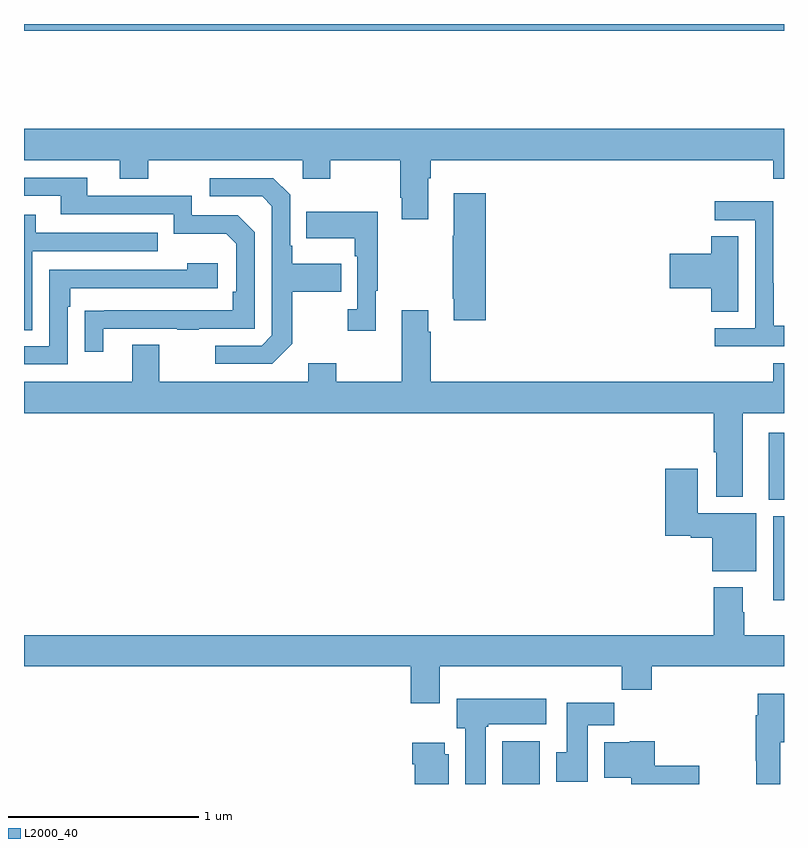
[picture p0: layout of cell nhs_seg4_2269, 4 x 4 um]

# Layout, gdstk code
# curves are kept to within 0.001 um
import gdstk
lib = gdstk.Library(unit=1e-6, precision=1e-09)
def R(c, l, rs):  # rectangles x0, y0, x1, y1
    for r in rs: c.add(gdstk.rectangle(r[:2], r[2:], *l))
def P(c, l, *ps):  # polygons
    for p in ps: c.add(gdstk.Polygon(p, *l))
L2000_40 = (2000, 40)

nhs_seg4_2269 = lib.new_cell('nhs_seg4_2269')
R(nhs_seg4_2269, L2000_40, [(231.518,762.9,231.715,763.126), (232.943,763.866,233,764.308), (232.919,764.396,233,764.749), (229,766.864,233,766.9)])
P(nhs_seg4_2269, L2000_40, [(229,766.184),(229.505,766.184),(229.505,766.085),(229.653,766.085),(229.653,766.184),(230.466,766.184),(230.466,766.085),(230.613,766.085),(230.613,766.184),(230.98,766.184),(230.98,765.985),(230.987,765.985),(230.987,765.873),(231.127,765.873),(231.127,766.088),(231.14,766.088),(231.14,766.184),(232.943,766.184),(232.943,766.085),(233,766.085),(233,766.348),(229,766.348)],
  [(229.417,765.297),(229.807,765.297),(229.807,765.292),(229.919,765.292),(229.919,765.297),(230.214,765.297),(230.214,765.804),(230.124,765.894),(229.884,765.894),(229.884,765.996),(229.333,765.996),(229.333,766.092),(229,766.092),(229,765.996),(229.193,765.996),(229.193,765.9),(229.788,765.9),(229.788,765.797),(230.065,765.797),(230.118,765.744),(230.118,765.49),(230.098,765.49),(230.098,765.393),(229.321,765.392),(229.321,765.174),(229.417,765.174)],
  [(230.413,765.217),(230.413,765.49),(230.669,765.49),(230.669,765.637),(230.413,765.637),(230.413,765.733),(230.4,765.733),(230.4,766.002),(230.313,766.089),(229.977,766.089),(229.977,765.993),(230.253,765.993),(230.304,765.942),(230.304,765.261),(230.25,765.207),(230.007,765.207),(230.007,765.111),(230.307,765.111)],
  [(231.431,766.009),(231.263,766.009),(231.263,765.785),(231.256,765.785),(231.256,765.454),(231.263,765.454),(231.263,765.342),(231.431,765.342)],
  [(233,765.313),(232.947,765.313),(232.947,765.536),(232.944,765.536),(232.944,765.966),(232.635,765.966),(232.635,765.867),(232.848,765.867),(232.848,765.3),(232.635,765.3),(232.635,765.204),(233,765.204)],
  [(230.851,765.497),(230.863,765.497),(230.863,765.913),(230.485,765.913),(230.485,765.773),(230.742,765.773),(230.742,765.677),(230.754,765.677),(230.754,765.398),(230.703,765.398),(230.703,765.285),(230.851,765.285)],
  [(229.044,765.705),(229.703,765.705),(229.703,765.801),(229.063,765.801),(229.063,765.895),(229,765.895),(229,765.289),(229.044,765.289)],
  [(232.759,765.782),(232.616,765.782),(232.616,765.692),(232.398,765.692),(232.398,765.509),(232.616,765.509),(232.616,765.385),(232.759,765.385)],
  [(229.23,765.413),(229.243,765.413),(229.243,765.51),(230.02,765.51),(230.02,765.64),(229.859,765.64),(229.859,765.606),(229.134,765.606),(229.134,765.204),(229,765.204),(229,765.108),(229.23,765.108)],
  [(232.783,764.852),(233,764.852),(233,765.115),(232.943,765.115),(232.943,765.016),(231.14,765.016),(231.14,765.281),(231.127,765.281),(231.127,765.394),(230.987,765.394),(230.987,765.016),(230.643,765.016),(230.643,765.115),(230.495,765.115),(230.495,765.016),(229.711,765.016),(229.711,765.211),(229.571,765.211),(229.571,765.016),(229,765.016),(229,764.852),(232.631,764.852),(232.631,764.647),(232.643,764.647),(232.643,764.411),(232.783,764.411)],
  [(232.855,764.326),(232.546,764.326),(232.546,764.56),(232.376,764.56),(232.376,764.207),(232.509,764.207),(232.509,764.195),(232.622,764.195),(232.622,764.021),(232.855,764.021)],
  [(231.187,763.52),(232.147,763.52),(232.147,763.396),(232.304,763.396),(232.304,763.52),(233,763.52),(233,763.684),(232.791,763.684),(232.791,763.805),(232.783,763.805),(232.783,763.936),(232.631,763.936),(232.631,763.684),(229,763.684),(229,763.52),(231.035,763.52),(231.035,763.326),(231.187,763.326)],
  [(232.981,763.119),(233,763.119),(233,763.375),(232.862,763.375),(232.862,763.262),(232.85,763.262),(232.85,763.022),(232.855,763.022),(232.855,762.9),(232.981,762.9)],
  [(231.43,763.201),(231.444,763.201),(231.444,763.214),(231.748,763.214),(231.748,763.348),(231.278,763.348),(231.278,763.194),(231.323,763.194),(231.323,762.9),(231.43,762.9)],
  [(231.967,763.208),(232.106,763.208),(232.106,763.327),(231.857,763.327),(231.857,763.068),(231.8,763.068),(231.8,762.912),(231.967,762.912)],
  [(232.554,762.997),(232.319,762.997),(232.319,763.126),(232.188,763.126),(232.188,763.12),(232.055,763.12),(232.055,762.932),(232.196,762.932),(232.196,762.9),(232.554,762.9)],
  [(231.235,763.056),(231.214,763.056),(231.214,763.117),(231.044,763.117),(231.044,763.004),(231.056,763.004),(231.056,762.9),(231.235,762.9)])

lib.write_gds('nhs_seg4_2269.gds')
